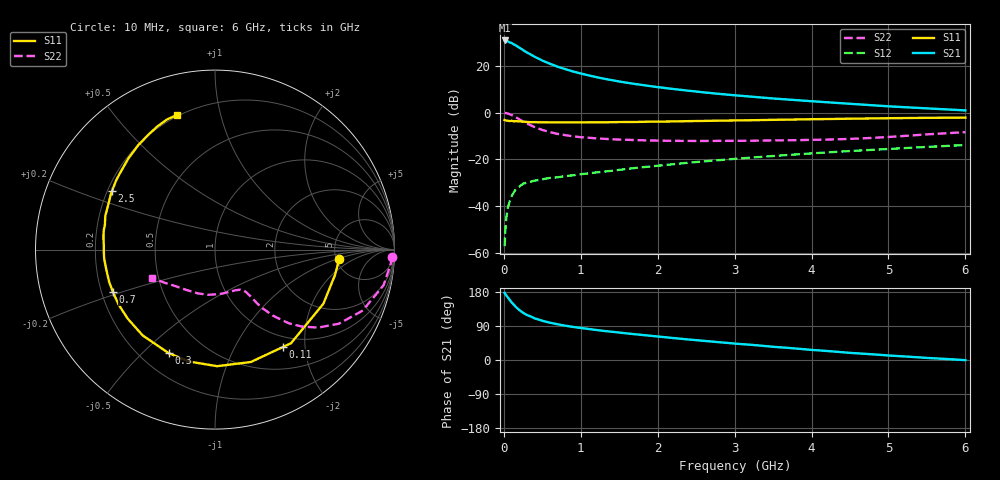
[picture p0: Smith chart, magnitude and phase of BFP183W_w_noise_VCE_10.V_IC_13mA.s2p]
! Infineon Technologies  Discrete & RF Semiconductors
! BFP183W
! VCE =  10. V,  IC =  13 mA
! Common Emitter S-Parameters:  Jan 2017
# GHz  S  MA  R  50
!  f  S11  S21  S12  S22
! GHz  MAG  ANG  MAG  ANG  MAG  ANG  MAG  ANG
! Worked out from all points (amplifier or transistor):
!   77 points, 10 MHz to 6 GHz, reference 50 ohm
!   highest |S21| = 30.8 dB at 10 MHz (marker M1)
!   |S21| within 3 dB of that: start of sweep to 197.5 MHz
!   unconditionally stable (mu >= 1): 1.521 GHz to 3.78 GHz
!   at 130 MHz: K = 0.17, MSG = 31.6 dB, |S12| = -34.1 dB
!   at 2.2 GHz: K = 1.06, MAG = 14.5 dB, |S12| = -22.1 dB
!   at 6 GHz: K = 0.85, MSG = 7.4 dB, |S12| = -13.9 dB
!   lowest NFmin = 1.01 dB at 450 MHz
!   S11 on the Smith chart (normalised r, x): 10 MHz: 5.29, -1.11; 110 MHz: 0.83, -1.59; 300 MHz: 0.31, -0.60; 700 MHz: 0.25, -0.19; 2.5 GHz: 0.22, +0.25; 6 GHz: 0.19, +0.74
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0.01  0.694 -4.5  34.71 177.2  0.0014 85.2  0.9879 -2.3
0.02  0.6835 -11.9  34.17 173.7  0.0032 88.3  0.9816 -4.9
0.05  0.675 -26.5  33.18 165.5  0.0089 72.5  0.9601 -11.9
0.1  0.6719 -50.9  30.67 152.3  0.0162 68.7  0.8905 -22.4
0.11  0.6617 -55.1  29.96 150.3  0.0174 66.4  0.8718 -24.0
0.15  0.6573 -72.3  27.56 141.2  0.0222 59.6  0.8041 -30.9
0.2  0.6497 -88.9  24.43 132.0  0.0261 53.8  0.7205 -37.1
0.25  0.6402 -102.9  21.65 124.6  0.0302 49.2  0.6452 -41.6
0.3  0.6322 -114.0  19.21 118.8  0.0319 45.2  0.5822 -44.9
0.4  0.6254 -130.1  15.58 109.9  0.0351 43.3  0.4886 -48.8
0.5  0.62 -141.6  12.92 103.5  0.0376 41.2  0.4256 -50.8
0.6  0.6183 -150.3  11.03 98.4  0.0402 40.8  0.3818 -51.9
0.7  0.6157 -157.3  9.558 94.3  0.0415 42.0  0.3497 -52.4
0.9  0.6153 -167.6  7.541 87.3  0.0458 43.8  0.3109 -53.3
1.1  0.6194 -175.4  6.237 81.9  0.0502 46.6  0.2898 -54.1
1.5  0.6269 172.4  4.613 72.4  0.0597 49.1  0.2649 -57.6
2.1  0.6434 158.4  3.341 60.1  0.076 52.2  0.2504 -67.1
2.5  0.6595 150.5  2.813 52.4  0.0877 52.9  0.2477 -75.6
3.1  0.6817 140.1  2.268 41.8  0.1057 52.4  0.2494 -89.4
4.1  0.7242 125.3  1.704 25.3  0.1375 49.4  0.263 -113.8
5.1  0.7603 114.1  1.333 10.7  0.1703 44.7  0.3084 -139.9
6  0.7794 105.8  1.112 -0.4  0.2027 39.5  0.3825 -155.6
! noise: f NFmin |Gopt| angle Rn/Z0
0.45  1.01  0.12  144  0.1
0.9  1.04  0.19  155  0.09
1.9  1.52  0.38  -172  0.08
2.4  1.75  0.44  -164  0.1
